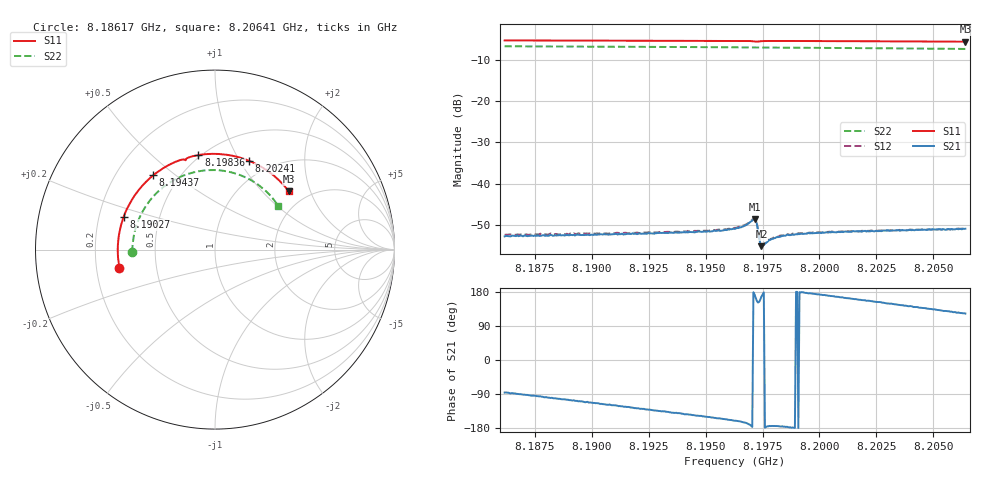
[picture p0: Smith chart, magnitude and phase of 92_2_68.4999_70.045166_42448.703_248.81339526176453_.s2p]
#  HZ  S  RI  R  50.00
! Rohde & Schwarz Vector Network Analyzer
! Rohde-Schwarz,ZNB20-2Port,1311601062101988,3.16
! Created: UTC 3/20/2024, 5:07:50 PM
! freq[Hz]  re:S11  im:S11  re:S21  im:S21  re:S12  im:S12  re:S22  im:S22
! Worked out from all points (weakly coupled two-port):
!   401 points, 8.18617 GHz to 8.20641 GHz, reference 50 ohm
!   highest |S21| = -48.56 dB at 8.19715 GHz (marker M1); lowest = -55.1 dB at 8.19745 GHz (marker M2)
!   lowest |S11| = -5.6 dB at 8.20641 GHz (marker M3), VSWR 3.20, Z = 80.3 + j71.8 ohm
!   |S11| at or under -10 dB: nowhere
!   |S22| runs from -7.4 to -6.7 dB; largest |S21 - S12| = 0.0002
!   S11 on the Smith chart (normalised r, x): 8.18617 GHz: 0.30, -0.08; 8.19027 GHz: 0.31, +0.16; 8.19437 GHz: 0.36, +0.42; 8.19836 GHz: 0.49, +0.72; 8.20241 GHz: 0.80, +1.10; 8.20641 GHz: 1.61, +1.44
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8.186167e9  -0.533 -0.1003  0.000163 -0.00229  0.000151 -0.00239  -0.4604 -0.0144
8.187887e9  -0.5412 0.0194  -0.000331 -0.00235  -0.000378 -0.00238  -0.4517 0.0805
8.189558e9  -0.524 0.1349  -0.000783 -0.00226  -0.000885 -0.00229  -0.4245 0.1692
8.190266e9  -0.5091 0.1822  -0.000988 -0.00221  -0.00111 -0.00222  -0.4076 0.2048
8.192949e9  -0.4151 0.3443  -0.00177 -0.00179  -0.00188 -0.00179  -0.3174 0.323
8.194366e9  -0.344 0.414  -0.00211 -0.0015  -0.00224 -0.00145  -0.255 0.3718
8.195732e9  -0.2639 0.4679  -0.00246 -0.00112  -0.00258 -0.00106  -0.1875 0.4077
8.196289e9  -0.2282 0.4856  -0.00266 -0.000951  -0.00278 -0.000879  -0.1581 0.4192
8.196694e9  -0.2006 0.4965  -0.00297 -0.000795  -0.00305 -0.000719  -0.1365 0.4259
8.197048e9  -0.1735 0.5022  -0.00357 -0.000207  -0.00368 -3.51e-05  -0.1171 0.4309
8.197149e9  -0.1661 0.5005  -0.0037 0.000494  -0.00375 0.000654  -0.1115 0.432
8.1972e9  -0.164 0.4986  -0.00348 0.000988  -0.00352 0.00114  -0.1088 0.4326
8.197251e9  -0.1636 0.4976  -0.00298 0.00133  -0.00298 0.00148  -0.106 0.4332
8.197403e9  -0.161 0.5048  -0.00176 0.000646  -0.00177 0.000728  -0.0978 0.4351
8.197453e9  -0.1579 0.5076  -0.00171 0.000376  -0.00173 0.000456  -0.095 0.4357
8.197554e9  -0.1506 0.5116  -0.00181 4.8e-05  -0.00182 0.000118  -0.0894 0.4367
8.197858e9  -0.1284 0.5191  -0.00209 -0.000206  -0.00213 -0.000155  -0.0724 0.4393
8.198364e9  -0.0923 0.5267  -0.00232 -0.000203  -0.00236 -5.25e-05  -0.0438 0.4422
8.19968e9  0.000963 0.5334  -0.0025 0.000218  -0.00253 0.000323  0.0309 0.441
8.202413e9  0.1895 0.495  -0.00237 0.00115  -0.00238 0.00128  0.1802 0.3977
8.203071e9  0.2317 0.4756  -0.0023 0.0014  -0.00227 0.00148  0.2134 0.3794
8.206411e9  0.4113 0.3242  -0.00153 0.0024  -0.00145 0.00244  0.3516 0.2441
